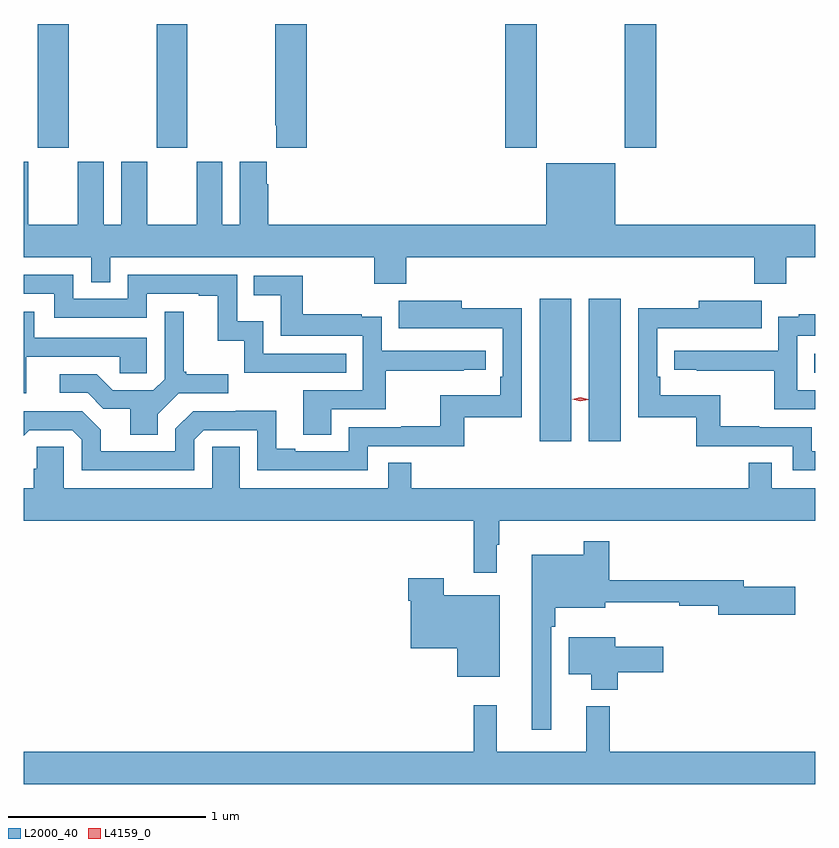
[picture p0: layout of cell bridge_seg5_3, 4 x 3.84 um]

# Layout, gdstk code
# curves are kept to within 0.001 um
import gdstk
lib = gdstk.Library(unit=1e-6, precision=1e-09)
def R(c, l, rs):  # rectangles x0, y0, x1, y1
    for r in rs: c.add(gdstk.rectangle(r[:2], r[2:], *l))
def P(c, l, *ps):  # polygons
    for p in ps: c.add(gdstk.Polygon(p, *l))
L2000_40 = (2000, 40)
L4159_0 = (4159, 0)

bridge_seg5_3 = lib.new_cell('bridge_seg5_3')
R(bridge_seg5_3, L2000_40, [(990.725,871.812,990.886,872.533), (990.974,871.812,991.135,872.533), (992.113,872.16,992.118,872.256), (988.189,873.297,988.344,873.922), (988.789,873.297,988.944,873.922), (990.551,873.297,990.711,873.922), (991.156,873.297,991.316,873.922)])
P(bridge_seg5_3, L2000_40, [(989.549,873.922),(989.389,873.922),(989.389,873.409),(989.393,873.409),(989.393,873.297),(989.549,873.297)],
  [(990.05,872.744),(991.811,872.744),(991.811,872.609),(991.971,872.609),(991.971,872.744),(992.118,872.744),(992.118,872.908),(991.108,872.908),(991.108,873.217),(990.758,873.217),(990.758,872.908),(989.354,872.908),(989.354,873.113),(989.347,873.113),(989.347,873.226),(989.21,873.226),(989.21,872.908),(989.122,872.908),(989.122,873.226),(988.991,873.226),(988.991,872.908),(988.741,872.908),(988.741,873.226),(988.61,873.226),(988.61,872.908),(988.522,872.908),(988.522,873.226),(988.391,873.226),(988.391,872.908),(988.141,872.908),(988.141,873.226),(988.118,873.226),(988.118,872.744),(988.458,872.744),(988.458,872.617),(988.554,872.617),(988.554,872.744),(989.89,872.744),(989.89,872.609),(990.05,872.609)],
  [(989.747,872.256),(989.328,872.256),(989.328,872.419),(989.196,872.419),(989.196,872.655),(988.644,872.655),(988.644,872.532),(988.368,872.532),(988.368,872.655),(988.118,872.655),(988.118,872.559),(988.272,872.559),(988.272,872.436),(988.74,872.436),(988.74,872.559),(989.003,872.559),(989.003,872.547),(989.099,872.547),(989.099,872.321),(989.232,872.321),(989.232,872.16),(989.747,872.16)],
  [(989.671,871.974),(989.948,871.974),(989.948,872.17),(990.341,872.17),(990.341,872.175),(990.454,872.175),(990.454,872.271),(989.928,872.271),(989.928,872.443),(989.825,872.443),(989.825,872.455),(989.527,872.455),(989.527,872.649),(989.281,872.649),(989.281,872.552),(989.416,872.552),(989.416,872.346),(989.832,872.346),(989.832,872.07),(989.531,872.07),(989.531,871.846),(989.671,871.846)],
  [(988.98,871.821),(989.028,871.869),(989.298,871.869),(989.298,871.665),(989.856,871.665),(989.856,871.788),(990.343,871.788),(990.343,871.935),(990.636,871.935),(990.636,872.486),(990.331,872.486),(990.331,872.524),(990.013,872.524),(990.013,872.384),(990.54,872.385),(990.54,872.14),(990.527,872.14),(990.527,872.044),(990.222,872.044),(990.222,871.889),(990.025,871.889),(990.025,871.884),(989.76,871.884),(989.76,871.761),(989.491,871.761),(989.491,871.774),(989.395,871.774),(989.395,871.967),(989.19,871.967),(989.19,871.965),(988.974,871.965),(988.884,871.875),(988.884,871.761),(988.507,871.761),(988.507,871.871),(988.413,871.965),(988.118,871.965),(988.118,871.841),(988.146,871.869),(988.362,871.869),(988.41,871.821),(988.41,871.665),(988.98,871.665)],
  [(992.118,871.761),(992.1,871.761),(992.1,871.884),(991.835,871.884),(991.835,871.889),(991.639,871.889),(991.639,872.044),(991.334,872.044),(991.334,872.14),(991.32,872.14),(991.32,872.385),(991.633,872.385),(991.633,872.384),(991.847,872.384),(991.847,872.524),(991.529,872.524),(991.529,872.486),(991.224,872.486),(991.224,871.935),(991.518,871.935),(991.518,871.788),(992.004,871.788),(992.004,871.665),(992.118,871.665)],
  [(988.129,872.241),(988.603,872.241),(988.603,872.157),(988.74,872.157),(988.74,872.337),(988.171,872.337),(988.171,872.467),(988.118,872.467),(988.118,872.055),(988.129,872.055)],
  [(988.795,871.948),(988.902,872.055),(989.152,872.055),(989.152,872.152),(988.939,872.152),(988.939,872.164),(988.927,872.164),(988.927,872.467),(988.83,872.467),(988.83,872.127),(988.773,872.07),(988.567,872.07),(988.486,872.151),(988.299,872.151),(988.299,872.058),(988.44,872.058),(988.52,871.978),(988.655,871.978),(988.655,871.846),(988.795,871.846)],
  [(992.118,872.07),(992.028,872.07),(992.028,872.346),(992.118,872.346),(992.118,872.455),(992.035,872.455),(992.035,872.443),(991.932,872.443),(991.932,872.271),(991.407,872.271),(991.407,872.175),(991.519,872.175),(991.519,872.17),(991.912,872.17),(991.912,871.974),(992.118,871.974)],
  [(991.783,871.703),(991.783,871.576),(990.077,871.576),(990.077,871.703),(989.961,871.703),(989.961,871.576),(989.209,871.576),(989.209,871.784),(989.07,871.784),(989.07,871.576),(988.32,871.576),(988.32,871.784),(988.183,871.784),(988.183,871.674),(988.169,871.674),(988.169,871.576),(988.118,871.576),(988.118,871.412),(990.391,871.412),(990.391,871.149),(990.508,871.149),(990.508,871.289),(990.52,871.289),(990.52,871.412),(992.118,871.412),(992.118,871.576),(991.899,871.576),(991.899,871.703)],
  [(990.783,870.875),(990.803,870.875),(990.803,870.971),(991.057,870.971),(991.057,871),(991.432,871),(991.432,870.982),(991.628,870.982),(991.628,870.935),(992.017,870.935),(992.017,871.077),(991.756,871.077),(991.756,871.111),(991.076,871.111),(991.076,871.306),(990.948,871.306),(990.948,871.24),(990.686,871.24),(990.686,870.354),(990.783,870.354)],
  [(990.523,871.033),(990.24,871.033),(990.24,871.12),(990.062,871.12),(990.062,871.007),(990.074,871.007),(990.074,870.767),(990.308,870.767),(990.308,870.623),(990.523,870.623)],
  [(991.121,870.646),(991.351,870.646),(991.351,870.775),(991.108,870.775),(991.108,870.823),(990.872,870.823),(990.872,870.635),(990.986,870.635),(990.986,870.557),(991.121,870.557)],
  [(992.118,870.244),(991.079,870.244),(991.079,870.472),(990.962,870.472),(990.962,870.244),(990.509,870.244),(990.509,870.478),(990.391,870.478),(990.391,870.244),(988.118,870.244),(988.118,870.08),(992.118,870.08)])
P(bridge_seg5_3, L4159_0, [(990.93,872.014),(990.89,872.024),(990.89,872.024),(990.89,872.024),(990.93,872.034),(990.97,872.024),(990.97,872.024),(990.97,872.023)])

lib.write_gds('bridge_seg5_3.gds')
